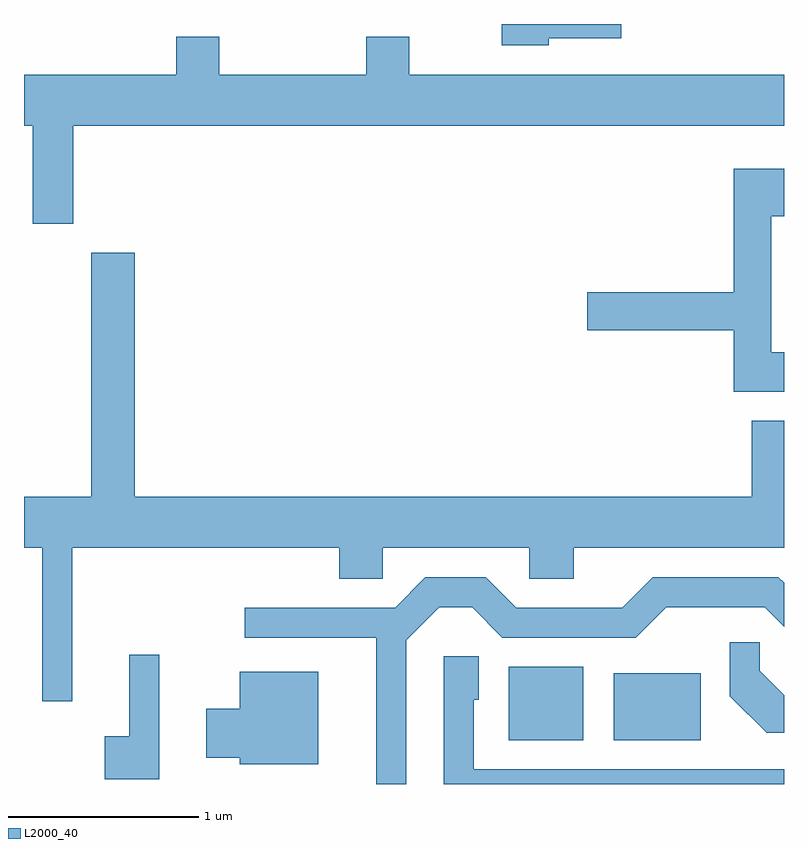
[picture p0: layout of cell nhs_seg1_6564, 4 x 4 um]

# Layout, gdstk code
import gdstk
lib = gdstk.Library(unit=1e-6, precision=1e-09)
def R(c, l, rs):  # rectangles x0, y0, x1, y1
    for r in rs: c.add(gdstk.rectangle(r[:2], r[2:], *l))
def P(c, l, *ps):  # polygons
    for p in ps: c.add(gdstk.Polygon(p, *l))
L2000_40 = (2000, 40)

nhs_seg1_6564 = lib.new_cell('nhs_seg1_6564')
R(nhs_seg1_6564, L2000_40, [(386.161,851.941,386.554,852.329), (386.716,851.941,387.174,852.294)])
P(nhs_seg1_6564, L2000_40, [(386.374,855.636),(386.754,855.636),(386.754,855.712),(386.126,855.712),(386.126,855.601),(386.374,855.601)],
  [(383.869,855.176),(387.611,855.176),(387.611,855.444),(385.639,855.444),(385.639,855.644),(385.411,855.644),(385.411,855.444),(384.639,855.444),(384.639,855.644),(384.411,855.644),(384.411,855.444),(383.611,855.444),(383.611,855.176),(383.656,855.176),(383.656,854.661),(383.869,854.661)],
  [(387.611,853.984),(387.544,853.984),(387.544,854.701),(387.611,854.701),(387.611,854.949),(387.346,854.949),(387.346,854.299),(386.576,854.299),(386.576,854.101),(387.346,854.101),(387.346,853.776),(387.611,853.776)],
  [(383.864,852.956),(385.271,852.956),(385.271,852.791),(385.499,852.791),(385.499,852.956),(386.271,852.956),(386.271,852.791),(386.504,852.791),(386.504,852.956),(387.611,852.956),(387.611,853.624),(387.441,853.624),(387.441,853.224),(384.194,853.224),(384.194,854.509),(383.966,854.509),(383.966,853.224),(383.611,853.224),(383.611,852.956),(383.706,852.956),(383.706,852.148),(383.864,852.148)],
  [(385.624,852.469),(385.797,852.641),(385.969,852.641),(386.129,852.481),(386.832,852.481),(386.992,852.641),(387.509,852.641),(387.611,852.539),(387.611,852.77),(387.582,852.799),(386.919,852.799),(386.759,852.639),(386.202,852.639),(386.042,852.799),(385.724,852.799),(385.564,852.639),(384.773,852.639),(384.773,852.481),(385.466,852.481),(385.466,851.712),(385.624,851.712)],
  [(387.611,852.18),(387.484,852.307),(387.484,852.458),(387.326,852.458),(387.326,852.174),(387.519,851.981),(387.611,851.981)],
  [(384.324,852.393),(384.166,852.393),(384.166,851.964),(384.036,851.964),(384.036,851.736),(384.324,851.736)],
  [(387.611,851.789),(385.979,851.789),(385.979,852.156),(386.004,852.156),(386.004,852.384),(385.821,852.384),(385.821,851.712),(387.611,851.712)],
  [(385.159,852.304),(384.746,852.304),(384.746,852.109),(384.571,852.109),(384.571,851.851),(384.746,851.851),(384.746,851.816),(385.159,851.816)])

lib.write_gds('nhs_seg1_6564.gds')
